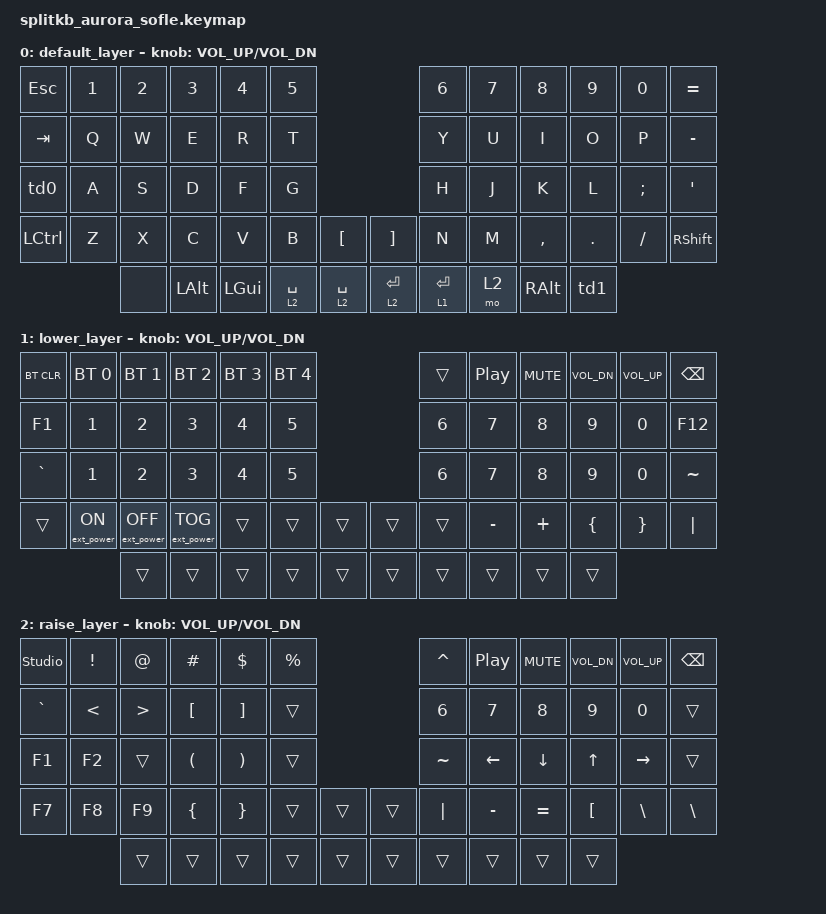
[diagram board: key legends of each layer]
/*
 * Copyright (c) 2023 The ZMK Contributors
 *
 * SPDX-License-Identifier: MIT
 */

#include <behaviors.dtsi>
#include <dt-bindings/zmk/bt.h>
#include <dt-bindings/zmk/ext_power.h>
#include <dt-bindings/zmk/keys.h>

/ {
    behaviors {
        td0: shift_caps_word_tap_dance {
            compatible = "zmk,behavior-tap-dance";
            #binding-cells = <0>;
            tapping-term-ms = <200>;
            bindings = <&kp LEFT_SHIFT>, <&caps_word>;
        };
        td1: alt_or_mo2 {
            compatible = "zmk,behavior-tap-dance";
            #binding-cells = <0>;
            tapping-term-ms = <200>;
            bindings = <&kp RALT>, <&tog 2>;
        };
    };
    keymap {
        compatible = "zmk,keymap";

        default_layer {

            bindings = <
&kp ESCAPE &kp N1  &kp N2  &kp N3    &kp N4         &kp N5                                 &kp N6      &kp N7  &kp N8        &kp N9    &kp N0    &kp EQUAL
&kp TAB    &kp Q   &kp W   &kp E     &kp R          &kp T                                  &kp Y       &kp U   &kp I         &kp O     &kp P     &kp MINUS
&td0       &kp A   &kp S   &kp D     &kp F          &kp G                                  &kp H       &kp J   &kp K         &kp L     &kp SEMI  &kp SQT
&kp LCTRL  &kp Z   &kp X   &kp C     &kp V          &kp B         &kp LBKT     &kp RBKT    &kp N       &kp M   &kp COMMA     &kp DOT   &kp FSLH  &kp RSHFT
                   &none   &kp LALT  &kp LGUI       &lt 2 SPACE  &lt 2 SPACE   &lt 2 ENTER &lt 1 ENTER &mo 2   &kp RIGHT_ALT &td1
            >;

            sensor-bindings = <&inc_dec_kp C_VOL_UP C_VOL_DN>;
        };

        lower_layer {

            bindings = <
&bt BT_CLR  &bt BT_SEL 0      &bt BT_SEL 1       &bt BT_SEL 2       &bt BT_SEL 3  &bt BT_SEL 4                    &trans     &kp C_PP   &kp K_MUTE &kp K_VOL_DN &kp K_VOL_UP &kp BACKSPACE
&kp F1      &kp N1            &kp N2             &kp N3             &kp N4        &kp N5                          &kp N6     &kp N7     &kp N8     &kp N9       &kp N0       &kp F12
&kp GRAVE   &kp N1            &kp N2             &kp N3             &kp N4        &kp N5                          &kp N6     &kp N7     &kp N8     &kp N9       &kp N0       &kp TILDE
&trans      &ext_power EP_ON  &ext_power EP_OFF  &ext_power EP_TOG  &trans        &trans        &trans    &trans  &trans     &kp MINUS  &kp PLUS   &kp LBRC     &kp RBRC     &kp PIPE
                              &trans             &trans             &trans        &trans        &trans    &trans  &trans     &trans     &trans     &trans
            >;

            sensor-bindings = <&inc_dec_kp C_VOL_UP C_VOL_DN>;
        };

        raise_layer {

            bindings = <
&studio_unlock   &kp EXCL &kp AT  &kp HASH    &kp DLLR    &kp PRCNT                 &kp CARET  &kp C_PP   &kp K_MUTE &kp K_VOL_DN &kp K_VOL_UP &kp BACKSPACE
&kp GRAVE        &kp LT   &kp GT  &kp LBKT    &kp RBKT    &trans                    &kp N6     &kp N7     &kp N8     &kp N9       &kp N0       &trans
&kp F1           &kp F2   &trans  &kp LPAR    &kp RPAR    &trans                    &kp TILDE  &kp LEFT   &kp DOWN   &kp UP       &kp RIGHT    &trans
&kp F7           &kp F8   &kp F9  &kp LBRC    &kp RBRC    &trans  &trans    &trans  &kp PIPE   &kp MINUS  &kp EQUAL  &kp LBKT     &kp BSLH     &kp BSLH
                          &trans  &trans      &trans      &trans  &trans    &trans  &trans     &trans     &trans     &trans
            >;

            sensor-bindings = <&inc_dec_kp C_VOL_UP C_VOL_DN>;
        };
    };
};

